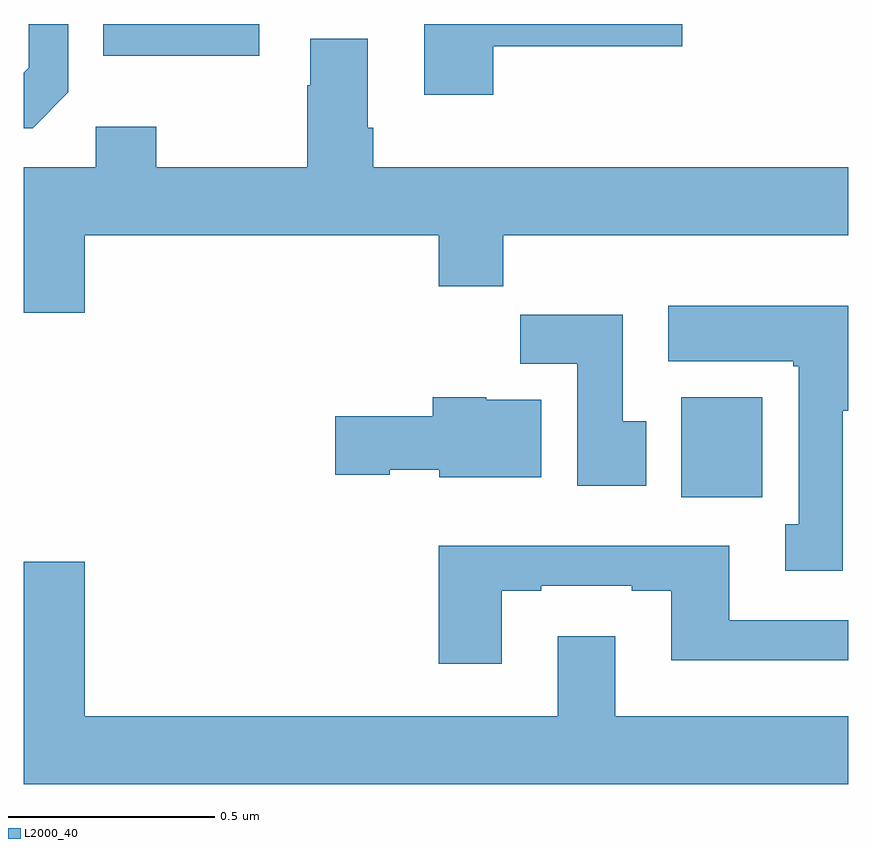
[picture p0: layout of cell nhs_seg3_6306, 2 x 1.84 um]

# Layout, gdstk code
import gdstk
lib = gdstk.Library(unit=1e-6, precision=1e-09)
def R(c, l, rs):  # rectangles x0, y0, x1, y1
    for r in rs: c.add(gdstk.rectangle(r[:2], r[2:], *l))
def P(c, l, *ps):  # polygons
    for p in ps: c.add(gdstk.Polygon(p, *l))
L2000_40 = (2000, 40)

nhs_seg3_6306 = lib.new_cell('nhs_seg3_6306')
R(nhs_seg3_6306, L2000_40, [(190.595,728.252,190.792,728.494), (189.193,729.323,189.571,729.4)])
P(nhs_seg3_6306, L2000_40, [(189.108,729.234),(189.108,729.4),(189.012,729.4),(189.012,729.294),(189,729.282),(189,729.147),(189.021,729.147)],
  [(190.139,729.346),(190.597,729.346),(190.597,729.4),(189.971,729.4),(189.971,729.228),(190.139,729.228)],
  [(189.148,728.888),(190.007,728.888),(190.007,728.764),(190.163,728.764),(190.163,728.888),(191,728.888),(191,729.052),(189.848,729.052),(189.848,729.148),(189.835,729.148),(189.835,729.364),(189.695,729.364),(189.695,729.251),(189.688,729.251),(189.688,729.052),(189.321,729.052),(189.321,729.151),(189.174,729.151),(189.174,729.052),(189,729.052),(189,728.7),(189.148,728.7)],
  [(190.987,728.462),(191,728.462),(191,728.716),(190.563,728.716),(190.563,728.582),(190.867,728.582),(190.867,728.569),(190.88,728.569),(190.88,728.186),(190.847,728.186),(190.847,728.073),(190.987,728.073)],
  [(190.51,728.436),(190.453,728.436),(190.453,728.695),(190.204,728.695),(190.204,728.576),(190.343,728.576),(190.343,728.28),(190.51,728.28)],
  [(190.255,728.488),(190.122,728.488),(190.122,728.494),(189.992,728.494),(189.992,728.448),(189.756,728.448),(189.756,728.306),(189.888,728.306),(189.888,728.318),(190.008,728.318),(190.008,728.3),(190.255,728.3)],
  [(190.159,728.025),(190.255,728.025),(190.255,728.037),(190.475,728.037),(190.475,728.025),(190.571,728.025),(190.571,727.856),(191,727.856),(191,727.953),(190.711,727.953),(190.711,728.134),(190.007,728.134),(190.007,727.848),(190.159,727.848)],
  [(191,727.72),(190.435,727.72),(190.435,727.915),(190.295,727.915),(190.295,727.72),(189.148,727.72),(189.148,728.095),(189,728.095),(189,727.556),(191,727.556)])

lib.write_gds('nhs_seg3_6306.gds')
